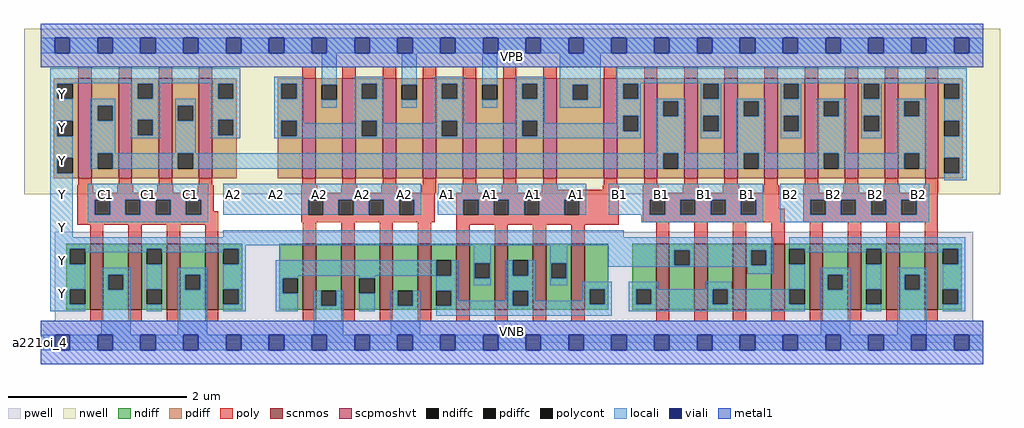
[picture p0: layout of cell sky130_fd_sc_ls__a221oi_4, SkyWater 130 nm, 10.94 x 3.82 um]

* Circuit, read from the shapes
.subckt sky130_fd_sc_ls__a221oi_4 A1 A2 B1 B2 C1 VGND VNB VPB VPWR Y
XM1 VGND C1 Y VNB sky130_fd_pr__nfet_01v8 w=0.74 l=0.15 m=4
XM2 VGND A2 n1 VNB sky130_fd_pr__nfet_01v8 w=0.74 l=0.15 m=4
XM3 Y A1 n1 VNB sky130_fd_pr__nfet_01v8 w=0.74 l=0.15 m=4
XM4 Y B1 n2 VNB sky130_fd_pr__nfet_01v8 w=0.74 l=0.15 m=4
XM5 VGND B2 n2 VNB sky130_fd_pr__nfet_01v8 w=0.74 l=0.15 m=4
XM6 n3 C1 Y VPB sky130_fd_pr__pfet_01v8_hvt w=1.12 l=0.15 m=4
XM7 VPWR A2 n4 VPB sky130_fd_pr__pfet_01v8_hvt w=1.12 l=0.15 m=4
XM8 VPWR A1 n4 VPB sky130_fd_pr__pfet_01v8_hvt w=1.12 l=0.15 m=4
XM9 n3 B1 n4 VPB sky130_fd_pr__pfet_01v8_hvt w=1.12 l=0.15 m=4
XM10 n3 B2 n4 VPB sky130_fd_pr__pfet_01v8_hvt w=1.12 l=0.15 m=4
.ends

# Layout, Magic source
magic
tech sky130A
magscale 1 2
<< nwell >>
rect -38 332 2150 704
<< pwell >>
rect 31 49 2090 248
rect 0 0 2112 49
<< scnmos >>
rect 110 74 140 222
rect 196 74 226 222
rect 282 74 312 222
rect 368 74 398 222
rect 587 74 617 222
rect 673 74 703 222
rect 759 74 789 222
rect 845 74 875 222
rect 931 74 961 222
rect 1017 74 1047 222
rect 1103 74 1133 222
rect 1189 74 1219 222
rect 1379 74 1409 222
rect 1465 74 1495 222
rect 1551 74 1581 222
rect 1637 74 1667 222
rect 1723 74 1753 222
rect 1809 74 1839 222
rect 1895 74 1925 222
rect 1981 74 2011 222
<< scpmoshvt >>
rect 84 368 114 592
rect 174 368 204 592
rect 264 368 294 592
rect 354 368 384 592
rect 586 368 616 592
rect 676 368 706 592
rect 766 368 796 592
rect 856 368 886 592
rect 946 368 976 592
rect 1036 368 1066 592
rect 1126 368 1156 592
rect 1262 368 1292 592
rect 1352 368 1382 592
rect 1442 368 1472 592
rect 1532 368 1562 592
rect 1622 368 1652 592
rect 1712 368 1742 592
rect 1802 368 1832 592
rect 1892 368 1922 592
rect 1982 368 2012 592
<< ndiff >>
rect 57 210 110 222
rect 57 176 65 210
rect 99 176 110 210
rect 57 120 110 176
rect 57 86 65 120
rect 99 86 110 120
rect 57 74 110 86
rect 140 152 196 222
rect 140 118 151 152
rect 185 118 196 152
rect 140 74 196 118
rect 226 210 282 222
rect 226 176 237 210
rect 271 176 282 210
rect 226 120 282 176
rect 226 86 237 120
rect 271 86 282 120
rect 226 74 282 86
rect 312 152 368 222
rect 312 118 323 152
rect 357 118 368 152
rect 312 74 368 118
rect 398 210 451 222
rect 398 176 409 210
rect 443 176 451 210
rect 398 120 451 176
rect 398 86 409 120
rect 443 86 451 120
rect 398 74 451 86
rect 534 144 587 222
rect 534 110 542 144
rect 576 110 587 144
rect 534 74 587 110
rect 617 116 673 222
rect 617 82 628 116
rect 662 82 673 116
rect 617 74 673 82
rect 703 144 759 222
rect 703 110 714 144
rect 748 110 759 144
rect 703 74 759 110
rect 789 116 845 222
rect 789 82 800 116
rect 834 82 845 116
rect 789 74 845 82
rect 875 184 931 222
rect 875 150 886 184
rect 920 150 931 184
rect 875 116 931 150
rect 875 82 886 116
rect 920 82 931 116
rect 875 74 931 82
rect 961 178 1017 222
rect 961 144 972 178
rect 1006 144 1017 178
rect 961 74 1017 144
rect 1047 184 1103 222
rect 1047 150 1058 184
rect 1092 150 1103 184
rect 1047 116 1103 150
rect 1047 82 1058 116
rect 1092 82 1103 116
rect 1047 74 1103 82
rect 1133 178 1189 222
rect 1133 144 1144 178
rect 1178 144 1189 178
rect 1133 74 1189 144
rect 1219 120 1272 222
rect 1219 86 1230 120
rect 1264 86 1272 120
rect 1219 74 1272 86
rect 1326 120 1379 222
rect 1326 86 1334 120
rect 1368 86 1379 120
rect 1326 74 1379 86
rect 1409 207 1465 222
rect 1409 173 1420 207
rect 1454 173 1465 207
rect 1409 74 1465 173
rect 1495 120 1551 222
rect 1495 86 1506 120
rect 1540 86 1551 120
rect 1495 74 1551 86
rect 1581 207 1637 222
rect 1581 173 1592 207
rect 1626 173 1637 207
rect 1581 74 1637 173
rect 1667 210 1723 222
rect 1667 176 1678 210
rect 1712 176 1723 210
rect 1667 120 1723 176
rect 1667 86 1678 120
rect 1712 86 1723 120
rect 1667 74 1723 86
rect 1753 152 1809 222
rect 1753 118 1764 152
rect 1798 118 1809 152
rect 1753 74 1809 118
rect 1839 210 1895 222
rect 1839 176 1850 210
rect 1884 176 1895 210
rect 1839 120 1895 176
rect 1839 86 1850 120
rect 1884 86 1895 120
rect 1839 74 1895 86
rect 1925 152 1981 222
rect 1925 118 1936 152
rect 1970 118 1981 152
rect 1925 74 1981 118
rect 2011 210 2064 222
rect 2011 176 2022 210
rect 2056 176 2064 210
rect 2011 120 2064 176
rect 2011 86 2022 120
rect 2056 86 2064 120
rect 2011 74 2064 86
<< pdiff >>
rect 29 580 84 592
rect 29 546 37 580
rect 71 546 84 580
rect 29 497 84 546
rect 29 463 37 497
rect 71 463 84 497
rect 29 414 84 463
rect 29 380 37 414
rect 71 380 84 414
rect 29 368 84 380
rect 114 531 174 592
rect 114 497 127 531
rect 161 497 174 531
rect 114 424 174 497
rect 114 390 127 424
rect 161 390 174 424
rect 114 368 174 390
rect 204 580 264 592
rect 204 546 217 580
rect 251 546 264 580
rect 204 499 264 546
rect 204 465 217 499
rect 251 465 264 499
rect 204 368 264 465
rect 294 531 354 592
rect 294 497 307 531
rect 341 497 354 531
rect 294 424 354 497
rect 294 390 307 424
rect 341 390 354 424
rect 294 368 354 390
rect 384 580 439 592
rect 384 546 397 580
rect 431 546 439 580
rect 384 499 439 546
rect 384 465 397 499
rect 431 465 439 499
rect 384 368 439 465
rect 531 580 586 592
rect 531 546 539 580
rect 573 546 586 580
rect 531 497 586 546
rect 531 463 539 497
rect 573 463 586 497
rect 531 368 586 463
rect 616 578 676 592
rect 616 544 629 578
rect 663 544 676 578
rect 616 368 676 544
rect 706 580 766 592
rect 706 546 719 580
rect 753 546 766 580
rect 706 497 766 546
rect 706 463 719 497
rect 753 463 766 497
rect 706 368 766 463
rect 796 578 856 592
rect 796 544 809 578
rect 843 544 856 578
rect 796 368 856 544
rect 886 580 946 592
rect 886 546 899 580
rect 933 546 946 580
rect 886 497 946 546
rect 886 463 899 497
rect 933 463 946 497
rect 886 368 946 463
rect 976 578 1036 592
rect 976 544 989 578
rect 1023 544 1036 578
rect 976 368 1036 544
rect 1066 580 1126 592
rect 1066 546 1079 580
rect 1113 546 1126 580
rect 1066 497 1126 546
rect 1066 463 1079 497
rect 1113 463 1126 497
rect 1066 368 1126 463
rect 1156 578 1262 592
rect 1156 544 1192 578
rect 1226 544 1262 578
rect 1156 368 1262 544
rect 1292 580 1352 592
rect 1292 546 1305 580
rect 1339 546 1352 580
rect 1292 508 1352 546
rect 1292 474 1305 508
rect 1339 474 1352 508
rect 1292 368 1352 474
rect 1382 541 1442 592
rect 1382 507 1395 541
rect 1429 507 1442 541
rect 1382 424 1442 507
rect 1382 390 1395 424
rect 1429 390 1442 424
rect 1382 368 1442 390
rect 1472 580 1532 592
rect 1472 546 1485 580
rect 1519 546 1532 580
rect 1472 508 1532 546
rect 1472 474 1485 508
rect 1519 474 1532 508
rect 1472 368 1532 474
rect 1562 541 1622 592
rect 1562 507 1575 541
rect 1609 507 1622 541
rect 1562 424 1622 507
rect 1562 390 1575 424
rect 1609 390 1622 424
rect 1562 368 1622 390
rect 1652 580 1712 592
rect 1652 546 1665 580
rect 1699 546 1712 580
rect 1652 508 1712 546
rect 1652 474 1665 508
rect 1699 474 1712 508
rect 1652 368 1712 474
rect 1742 541 1802 592
rect 1742 507 1755 541
rect 1789 507 1802 541
rect 1742 424 1802 507
rect 1742 390 1755 424
rect 1789 390 1802 424
rect 1742 368 1802 390
rect 1832 580 1892 592
rect 1832 546 1845 580
rect 1879 546 1892 580
rect 1832 508 1892 546
rect 1832 474 1845 508
rect 1879 474 1892 508
rect 1832 368 1892 474
rect 1922 541 1982 592
rect 1922 507 1935 541
rect 1969 507 1982 541
rect 1922 424 1982 507
rect 1922 390 1935 424
rect 1969 390 1982 424
rect 1922 368 1982 390
rect 2012 580 2067 592
rect 2012 546 2025 580
rect 2059 546 2067 580
rect 2012 497 2067 546
rect 2012 463 2025 497
rect 2059 463 2067 497
rect 2012 414 2067 463
rect 2012 380 2025 414
rect 2059 380 2067 414
rect 2012 368 2067 380
<< ndiffc >>
rect 65 176 99 210
rect 65 86 99 120
rect 151 118 185 152
rect 237 176 271 210
rect 237 86 271 120
rect 323 118 357 152
rect 409 176 443 210
rect 409 86 443 120
rect 542 110 576 144
rect 628 82 662 116
rect 714 110 748 144
rect 800 82 834 116
rect 886 150 920 184
rect 886 82 920 116
rect 972 144 1006 178
rect 1058 150 1092 184
rect 1058 82 1092 116
rect 1144 144 1178 178
rect 1230 86 1264 120
rect 1334 86 1368 120
rect 1420 173 1454 207
rect 1506 86 1540 120
rect 1592 173 1626 207
rect 1678 176 1712 210
rect 1678 86 1712 120
rect 1764 118 1798 152
rect 1850 176 1884 210
rect 1850 86 1884 120
rect 1936 118 1970 152
rect 2022 176 2056 210
rect 2022 86 2056 120
<< pdiffc >>
rect 37 546 71 580
rect 37 463 71 497
rect 37 380 71 414
rect 127 497 161 531
rect 127 390 161 424
rect 217 546 251 580
rect 217 465 251 499
rect 307 497 341 531
rect 307 390 341 424
rect 397 546 431 580
rect 397 465 431 499
rect 539 546 573 580
rect 539 463 573 497
rect 629 544 663 578
rect 719 546 753 580
rect 719 463 753 497
rect 809 544 843 578
rect 899 546 933 580
rect 899 463 933 497
rect 989 544 1023 578
rect 1079 546 1113 580
rect 1079 463 1113 497
rect 1192 544 1226 578
rect 1305 546 1339 580
rect 1305 474 1339 508
rect 1395 507 1429 541
rect 1395 390 1429 424
rect 1485 546 1519 580
rect 1485 474 1519 508
rect 1575 507 1609 541
rect 1575 390 1609 424
rect 1665 546 1699 580
rect 1665 474 1699 508
rect 1755 507 1789 541
rect 1755 390 1789 424
rect 1845 546 1879 580
rect 1845 474 1879 508
rect 1935 507 1969 541
rect 1935 390 1969 424
rect 2025 546 2059 580
rect 2025 463 2059 497
rect 2025 380 2059 414
<< poly >>
rect 84 592 114 618
rect 174 592 204 618
rect 264 592 294 618
rect 354 592 384 618
rect 586 592 616 618
rect 676 592 706 618
rect 766 592 796 618
rect 856 592 886 618
rect 946 592 976 618
rect 1036 592 1066 618
rect 1126 592 1156 618
rect 1262 592 1292 618
rect 1352 592 1382 618
rect 1442 592 1472 618
rect 1532 592 1562 618
rect 1622 592 1652 618
rect 1712 592 1742 618
rect 1802 592 1832 618
rect 1892 592 1922 618
rect 1982 592 2012 618
rect 84 353 114 368
rect 174 353 204 368
rect 264 353 294 368
rect 354 353 384 368
rect 586 353 616 368
rect 676 353 706 368
rect 766 353 796 368
rect 856 353 886 368
rect 946 353 976 368
rect 1036 353 1066 368
rect 1126 353 1156 368
rect 1262 353 1292 368
rect 1352 353 1382 368
rect 1442 353 1472 368
rect 1532 353 1562 368
rect 1622 353 1652 368
rect 1712 353 1742 368
rect 1802 353 1832 368
rect 1892 353 1922 368
rect 1982 353 2012 368
rect 81 336 117 353
rect 171 336 207 353
rect 261 336 297 353
rect 351 336 387 353
rect 81 320 387 336
rect 81 286 121 320
rect 155 286 189 320
rect 223 286 257 320
rect 291 286 325 320
rect 359 294 387 320
rect 583 336 619 353
rect 673 336 709 353
rect 763 336 799 353
rect 853 336 886 353
rect 943 336 979 353
rect 1033 336 1069 353
rect 1123 342 1159 353
rect 1259 342 1295 353
rect 1123 336 1295 342
rect 583 320 883 336
rect 359 286 398 294
rect 81 264 398 286
rect 583 286 599 320
rect 633 286 667 320
rect 701 286 735 320
rect 769 286 803 320
rect 837 286 883 320
rect 583 270 883 286
rect 931 320 1295 336
rect 931 286 947 320
rect 981 286 1015 320
rect 1049 286 1083 320
rect 1117 286 1173 320
rect 1207 286 1295 320
rect 110 222 140 264
rect 196 222 226 264
rect 282 222 312 264
rect 368 222 398 264
rect 587 222 617 270
rect 673 222 703 270
rect 759 222 789 270
rect 845 222 875 270
rect 931 264 1295 286
rect 1349 336 1385 353
rect 1439 336 1475 353
rect 1529 336 1565 353
rect 1619 336 1655 353
rect 1349 320 1655 336
rect 1349 286 1365 320
rect 1399 286 1433 320
rect 1467 286 1501 320
rect 1535 286 1569 320
rect 1603 300 1655 320
rect 1709 336 1745 353
rect 1799 336 1835 353
rect 1889 336 1925 353
rect 1979 336 2012 353
rect 1709 320 2011 336
rect 1603 286 1667 300
rect 1349 270 1667 286
rect 1709 286 1725 320
rect 1759 286 1793 320
rect 1827 286 1861 320
rect 1895 286 1929 320
rect 1963 286 2011 320
rect 1709 270 2011 286
rect 931 222 961 264
rect 1017 222 1047 264
rect 1103 222 1133 264
rect 1189 222 1219 264
rect 1379 222 1409 270
rect 1465 222 1495 270
rect 1551 222 1581 270
rect 1637 222 1667 270
rect 1723 222 1753 270
rect 1809 222 1839 270
rect 1895 222 1925 270
rect 1981 222 2011 270
rect 110 48 140 74
rect 196 48 226 74
rect 282 48 312 74
rect 368 48 398 74
rect 587 48 617 74
rect 673 48 703 74
rect 759 48 789 74
rect 845 48 875 74
rect 931 48 961 74
rect 1017 48 1047 74
rect 1103 48 1133 74
rect 1189 48 1219 74
rect 1379 48 1409 74
rect 1465 48 1495 74
rect 1551 48 1581 74
rect 1637 48 1667 74
rect 1723 48 1753 74
rect 1809 48 1839 74
rect 1895 48 1925 74
rect 1981 48 2011 74
<< polycont >>
rect 121 286 155 320
rect 189 286 223 320
rect 257 286 291 320
rect 325 286 359 320
rect 599 286 633 320
rect 667 286 701 320
rect 735 286 769 320
rect 803 286 837 320
rect 947 286 981 320
rect 1015 286 1049 320
rect 1083 286 1117 320
rect 1173 286 1207 320
rect 1365 286 1399 320
rect 1433 286 1467 320
rect 1501 286 1535 320
rect 1569 286 1603 320
rect 1725 286 1759 320
rect 1793 286 1827 320
rect 1861 286 1895 320
rect 1929 286 1963 320
<< locali >>
rect 0 649 31 683
rect 65 649 127 683
rect 161 649 223 683
rect 257 649 319 683
rect 353 649 415 683
rect 449 649 511 683
rect 545 649 607 683
rect 641 649 703 683
rect 737 649 799 683
rect 833 649 895 683
rect 929 649 991 683
rect 1025 649 1087 683
rect 1121 649 1183 683
rect 1217 649 1279 683
rect 1313 649 1375 683
rect 1409 649 1471 683
rect 1505 649 1567 683
rect 1601 649 1663 683
rect 1697 649 1759 683
rect 1793 649 1855 683
rect 1889 649 1951 683
rect 1985 649 2047 683
rect 2081 649 2112 683
rect 21 581 447 615
rect 21 580 71 581
rect 21 546 37 580
rect 201 580 267 581
rect 21 497 71 546
rect 21 463 37 497
rect 21 414 71 463
rect 21 380 37 414
rect 111 531 167 547
rect 111 497 127 531
rect 161 497 167 531
rect 111 424 167 497
rect 201 546 217 580
rect 251 546 267 580
rect 381 580 447 581
rect 201 499 267 546
rect 201 465 217 499
rect 251 465 267 499
rect 201 458 267 465
rect 301 531 347 547
rect 301 497 307 531
rect 341 497 347 531
rect 301 424 347 497
rect 381 546 397 580
rect 431 546 447 580
rect 381 499 447 546
rect 381 465 397 499
rect 431 465 447 499
rect 381 458 447 465
rect 523 580 589 596
rect 523 546 539 580
rect 573 546 589 580
rect 523 497 589 546
rect 629 578 663 649
rect 629 526 663 544
rect 703 580 769 596
rect 703 546 719 580
rect 753 546 769 580
rect 523 463 539 497
rect 573 492 589 497
rect 703 497 769 546
rect 809 578 843 649
rect 809 526 843 544
rect 883 580 949 596
rect 883 546 899 580
rect 933 546 949 580
rect 703 492 719 497
rect 573 463 719 492
rect 753 492 769 497
rect 883 497 949 546
rect 989 578 1023 649
rect 989 526 1023 544
rect 1063 580 1129 596
rect 1063 546 1079 580
rect 1113 546 1129 580
rect 883 492 899 497
rect 753 463 899 492
rect 933 492 949 497
rect 1063 497 1129 546
rect 1163 578 1255 649
rect 1163 544 1192 578
rect 1226 544 1255 578
rect 1163 526 1255 544
rect 1289 581 2075 615
rect 1289 580 1345 581
rect 1289 546 1305 580
rect 1339 546 1345 580
rect 1479 580 1525 581
rect 1063 492 1079 497
rect 933 463 1079 492
rect 1113 492 1129 497
rect 1289 508 1345 546
rect 1289 492 1305 508
rect 1113 474 1305 492
rect 1339 474 1345 508
rect 1113 463 1345 474
rect 523 458 1345 463
rect 1379 541 1445 547
rect 1379 507 1395 541
rect 1429 507 1445 541
rect 1379 424 1445 507
rect 1479 546 1485 580
rect 1519 546 1525 580
rect 1659 580 1705 581
rect 1479 508 1525 546
rect 1479 474 1485 508
rect 1519 474 1525 508
rect 1479 458 1525 474
rect 1559 541 1625 547
rect 1559 507 1575 541
rect 1609 507 1625 541
rect 1559 424 1625 507
rect 1659 546 1665 580
rect 1699 546 1705 580
rect 1839 580 1885 581
rect 1659 508 1705 546
rect 1659 474 1665 508
rect 1699 474 1705 508
rect 1659 458 1705 474
rect 1739 541 1805 547
rect 1739 507 1755 541
rect 1789 507 1805 541
rect 1739 424 1805 507
rect 1839 546 1845 580
rect 1879 546 1885 580
rect 2025 580 2075 581
rect 1839 508 1885 546
rect 1839 474 1845 508
rect 1879 474 1885 508
rect 1839 458 1885 474
rect 1919 541 1985 547
rect 1919 507 1935 541
rect 1969 507 1985 541
rect 1919 424 1985 507
rect 111 390 127 424
rect 161 390 307 424
rect 341 390 1395 424
rect 1429 390 1575 424
rect 1609 390 1755 424
rect 1789 390 1935 424
rect 1969 390 1985 424
rect 2059 546 2075 580
rect 2025 497 2075 546
rect 2059 463 2075 497
rect 2025 414 2075 463
rect 21 236 71 380
rect 2059 380 2075 414
rect 2025 364 2075 380
rect 105 320 375 356
rect 105 286 121 320
rect 155 286 189 320
rect 223 286 257 320
rect 291 286 325 320
rect 359 286 375 320
rect 409 320 853 356
rect 409 286 599 320
rect 633 286 667 320
rect 701 286 735 320
rect 769 286 803 320
rect 837 286 853 320
rect 889 320 1223 356
rect 889 286 947 320
rect 981 286 1015 320
rect 1049 286 1083 320
rect 1117 286 1173 320
rect 1207 286 1223 320
rect 1273 320 1619 356
rect 1273 286 1365 320
rect 1399 286 1433 320
rect 1467 286 1501 320
rect 1535 286 1569 320
rect 1603 286 1619 320
rect 105 270 375 286
rect 1346 270 1619 286
rect 1657 320 1991 356
rect 1657 286 1725 320
rect 1759 286 1793 320
rect 1827 286 1861 320
rect 1895 286 1929 320
rect 1963 286 1991 320
rect 1657 270 1991 286
rect 409 236 1306 252
rect 21 218 1642 236
rect 21 210 459 218
rect 21 176 65 210
rect 99 202 237 210
rect 21 120 99 176
rect 271 202 409 210
rect 21 86 65 120
rect 21 70 99 86
rect 135 152 201 168
rect 135 118 151 152
rect 185 118 201 152
rect 135 17 201 118
rect 237 120 271 176
rect 443 176 459 210
rect 237 70 271 86
rect 307 152 373 168
rect 307 118 323 152
rect 357 118 373 152
rect 307 17 373 118
rect 409 120 459 176
rect 443 86 459 120
rect 409 70 459 86
rect 526 150 886 184
rect 920 150 936 184
rect 526 144 576 150
rect 526 110 542 144
rect 714 144 748 150
rect 526 70 576 110
rect 612 82 628 116
rect 662 82 678 116
rect 612 17 678 82
rect 886 116 936 150
rect 970 178 1008 218
rect 970 144 972 178
rect 1006 144 1008 178
rect 970 128 1008 144
rect 1042 150 1058 184
rect 1092 150 1108 184
rect 714 70 748 110
rect 784 82 800 116
rect 834 82 850 116
rect 784 17 850 82
rect 920 94 936 116
rect 1042 116 1108 150
rect 1142 178 1180 218
rect 1142 144 1144 178
rect 1178 144 1180 178
rect 1272 207 1642 218
rect 1272 173 1420 207
rect 1454 173 1592 207
rect 1626 173 1642 207
rect 1272 170 1642 173
rect 1583 154 1642 170
rect 1678 210 2072 236
rect 1712 202 1850 210
rect 1142 128 1180 144
rect 1042 94 1058 116
rect 920 82 1058 94
rect 1092 94 1108 116
rect 1214 120 1280 136
rect 1214 94 1230 120
rect 1092 86 1230 94
rect 1264 86 1280 120
rect 1092 82 1280 86
rect 886 60 1280 82
rect 1318 120 1384 136
rect 1490 120 1549 136
rect 1678 120 1712 176
rect 1884 202 2022 210
rect 1318 86 1334 120
rect 1368 86 1506 120
rect 1540 86 1678 120
rect 1318 70 1712 86
rect 1748 152 1814 168
rect 1748 118 1764 152
rect 1798 118 1814 152
rect 1748 17 1814 118
rect 1850 120 1884 176
rect 2056 176 2072 210
rect 1850 70 1884 86
rect 1920 152 1986 168
rect 1920 118 1936 152
rect 1970 118 1986 152
rect 1920 17 1986 118
rect 2022 120 2072 176
rect 2056 86 2072 120
rect 2022 70 2072 86
rect 0 -17 31 17
rect 65 -17 127 17
rect 161 -17 223 17
rect 257 -17 319 17
rect 353 -17 415 17
rect 449 -17 511 17
rect 545 -17 607 17
rect 641 -17 703 17
rect 737 -17 799 17
rect 833 -17 895 17
rect 929 -17 991 17
rect 1025 -17 1087 17
rect 1121 -17 1183 17
rect 1217 -17 1279 17
rect 1313 -17 1375 17
rect 1409 -17 1471 17
rect 1505 -17 1567 17
rect 1601 -17 1663 17
rect 1697 -17 1759 17
rect 1793 -17 1855 17
rect 1889 -17 1951 17
rect 1985 -17 2047 17
rect 2081 -17 2112 17
<< viali >>
rect 31 649 65 683
rect 127 649 161 683
rect 223 649 257 683
rect 319 649 353 683
rect 415 649 449 683
rect 511 649 545 683
rect 607 649 641 683
rect 703 649 737 683
rect 799 649 833 683
rect 895 649 929 683
rect 991 649 1025 683
rect 1087 649 1121 683
rect 1183 649 1217 683
rect 1279 649 1313 683
rect 1375 649 1409 683
rect 1471 649 1505 683
rect 1567 649 1601 683
rect 1663 649 1697 683
rect 1759 649 1793 683
rect 1855 649 1889 683
rect 1951 649 1985 683
rect 2047 649 2081 683
rect 31 -17 65 17
rect 127 -17 161 17
rect 223 -17 257 17
rect 319 -17 353 17
rect 415 -17 449 17
rect 511 -17 545 17
rect 607 -17 641 17
rect 703 -17 737 17
rect 799 -17 833 17
rect 895 -17 929 17
rect 991 -17 1025 17
rect 1087 -17 1121 17
rect 1183 -17 1217 17
rect 1279 -17 1313 17
rect 1375 -17 1409 17
rect 1471 -17 1505 17
rect 1567 -17 1601 17
rect 1663 -17 1697 17
rect 1759 -17 1793 17
rect 1855 -17 1889 17
rect 1951 -17 1985 17
rect 2047 -17 2081 17
<< metal1 >>
rect 0 683 2112 715
rect 0 649 31 683
rect 65 649 127 683
rect 161 649 223 683
rect 257 649 319 683
rect 353 649 415 683
rect 449 649 511 683
rect 545 649 607 683
rect 641 649 703 683
rect 737 649 799 683
rect 833 649 895 683
rect 929 649 991 683
rect 1025 649 1087 683
rect 1121 649 1183 683
rect 1217 649 1279 683
rect 1313 649 1375 683
rect 1409 649 1471 683
rect 1505 649 1567 683
rect 1601 649 1663 683
rect 1697 649 1759 683
rect 1793 649 1855 683
rect 1889 649 1951 683
rect 1985 649 2047 683
rect 2081 649 2112 683
rect 0 617 2112 649
rect 0 17 2112 49
rect 0 -17 31 17
rect 65 -17 127 17
rect 161 -17 223 17
rect 257 -17 319 17
rect 353 -17 415 17
rect 449 -17 511 17
rect 545 -17 607 17
rect 641 -17 703 17
rect 737 -17 799 17
rect 833 -17 895 17
rect 929 -17 991 17
rect 1025 -17 1087 17
rect 1121 -17 1183 17
rect 1217 -17 1279 17
rect 1313 -17 1375 17
rect 1409 -17 1471 17
rect 1505 -17 1567 17
rect 1601 -17 1663 17
rect 1697 -17 1759 17
rect 1793 -17 1855 17
rect 1889 -17 1951 17
rect 1985 -17 2047 17
rect 2081 -17 2112 17
rect 0 -49 2112 -17
<< labels >>
rlabel comment s 0 0 0 0 4 a221oi_4
flabel pwell s 0 0 2112 49 0 FreeSans 200 0 0 0 VNB
port 7 nsew ground bidirectional
flabel nwell s 0 617 2112 666 0 FreeSans 200 0 0 0 VPB
port 8 nsew power bidirectional
flabel metal1 s 0 617 2112 666 0 FreeSans 340 0 0 0 VPWR
port 9 nsew power bidirectional abutment
flabel metal1 s 0 0 2112 49 0 FreeSans 340 0 0 0 VGND
port 6 nsew ground bidirectional abutment
flabel locali s 31 94 65 128 0 FreeSans 340 0 0 0 Y
port 10 nsew signal output
flabel locali s 31 168 65 202 0 FreeSans 340 0 0 0 Y
port 10 nsew signal output
flabel locali s 31 242 65 276 0 FreeSans 340 0 0 0 Y
port 10 nsew signal output
flabel locali s 31 316 65 350 0 FreeSans 340 0 0 0 Y
port 10 nsew signal output
flabel locali s 31 390 65 424 0 FreeSans 340 0 0 0 Y
port 10 nsew signal output
flabel locali s 31 464 65 498 0 FreeSans 340 0 0 0 Y
port 10 nsew signal output
flabel locali s 31 538 65 572 0 FreeSans 340 0 0 0 Y
port 10 nsew signal output
flabel locali s 127 316 161 350 0 FreeSans 340 0 0 0 C1
port 5 nsew signal input
flabel locali s 223 316 257 350 0 FreeSans 340 0 0 0 C1
port 5 nsew signal input
flabel locali s 319 316 353 350 0 FreeSans 340 0 0 0 C1
port 5 nsew signal input
flabel locali s 1663 316 1697 350 0 FreeSans 340 0 0 0 B2
port 4 nsew signal input
flabel locali s 1759 316 1793 350 0 FreeSans 340 0 0 0 B2
port 4 nsew signal input
flabel locali s 1855 316 1889 350 0 FreeSans 340 0 0 0 B2
port 4 nsew signal input
flabel locali s 1951 316 1985 350 0 FreeSans 340 0 0 0 B2
port 4 nsew signal input
flabel locali s 1279 316 1313 350 0 FreeSans 340 0 0 0 B1
port 3 nsew signal input
flabel locali s 1375 316 1409 350 0 FreeSans 340 0 0 0 B1
port 3 nsew signal input
flabel locali s 1471 316 1505 350 0 FreeSans 340 0 0 0 B1
port 3 nsew signal input
flabel locali s 1567 316 1601 350 0 FreeSans 340 0 0 0 B1
port 3 nsew signal input
flabel locali s 415 316 449 350 0 FreeSans 340 0 0 0 A2
port 2 nsew signal input
flabel locali s 511 316 545 350 0 FreeSans 340 0 0 0 A2
port 2 nsew signal input
flabel locali s 607 316 641 350 0 FreeSans 340 0 0 0 A2
port 2 nsew signal input
flabel locali s 703 316 737 350 0 FreeSans 340 0 0 0 A2
port 2 nsew signal input
flabel locali s 799 316 833 350 0 FreeSans 340 0 0 0 A2
port 2 nsew signal input
flabel locali s 895 316 929 350 0 FreeSans 340 0 0 0 A1
port 1 nsew signal input
flabel locali s 991 316 1025 350 0 FreeSans 340 0 0 0 A1
port 1 nsew signal input
flabel locali s 1087 316 1121 350 0 FreeSans 340 0 0 0 A1
port 1 nsew signal input
flabel locali s 1183 316 1217 350 0 FreeSans 340 0 0 0 A1
port 1 nsew signal input
<< properties >>
string LEFsite unit
string LEFclass CORE
string FIXED_BBOX 0 0 2112 666
string GDS_FILE $PDKPATH/libs.ref/sky130_fd_sc_ls/gds/sky130_fd_sc_ls.gds
string LEFsymmetry X Y
string GDS_END 2738572
string GDS_START 2720692
<< end >>
